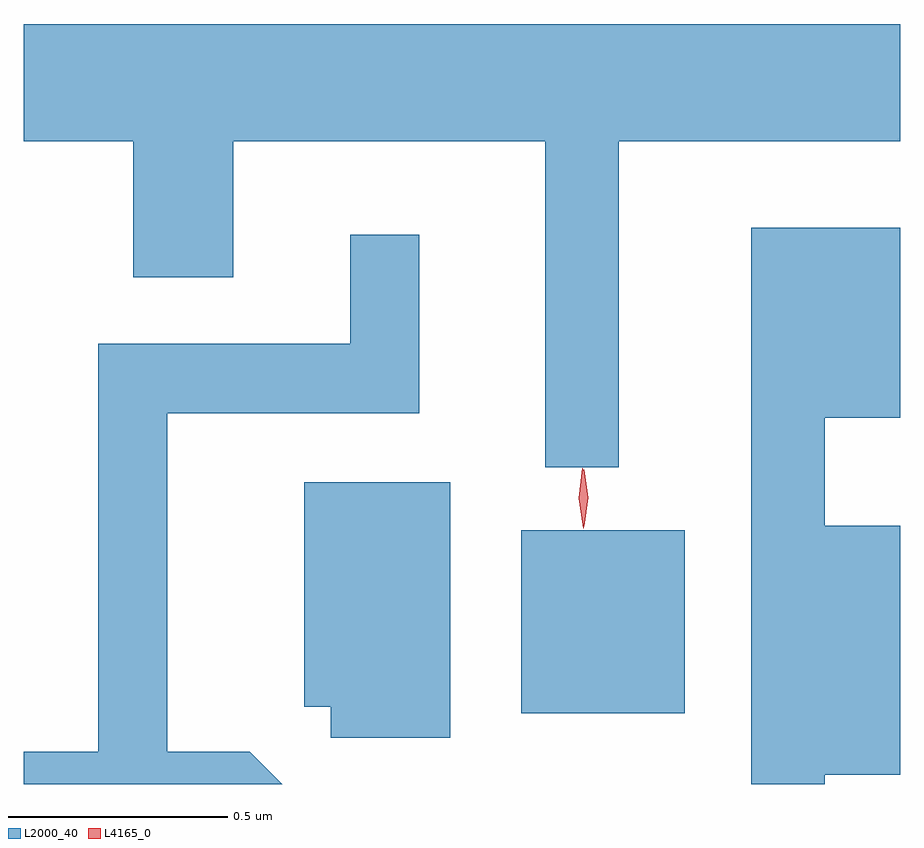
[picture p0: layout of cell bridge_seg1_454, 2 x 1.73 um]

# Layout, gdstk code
import gdstk
lib = gdstk.Library(unit=1e-6, precision=1e-09)
def R(c, l, rs):  # rectangles x0, y0, x1, y1
    for r in rs: c.add(gdstk.rectangle(r[:2], r[2:], *l))
def P(c, l, *ps):  # polygons
    for p in ps: c.add(gdstk.Polygon(p, *l))
L2000_40 = (2000, 40)
L4165_0 = (4165, 0)

bridge_seg1_454 = lib.new_cell('bridge_seg1_454')
R(bridge_seg1_454, L2000_40, [(401.406,904.931,401.779,905.349)])
P(bridge_seg1_454, L2000_40, [(401.629,906.236),(402.271,906.236),(402.271,906.504),(400.271,906.504),(400.271,906.236),(400.521,906.236),(400.521,905.926),(400.749,905.926),(400.749,906.236),(401.461,906.236),(401.461,905.493),(401.629,905.493)],
  [(402.099,904.791),(402.271,904.791),(402.271,905.359),(402.099,905.359),(402.099,905.606),(402.271,905.606),(402.271,906.039),(401.931,906.039),(401.931,904.77),(402.099,904.77)],
  [(400.787,904.844),(400.599,904.844),(400.599,905.616),(401.174,905.616),(401.174,906.023),(401.016,906.023),(401.016,905.774),(400.441,905.774),(400.441,904.844),(400.271,904.844),(400.271,904.77),(400.861,904.77)],
  [(401.244,905.459),(400.911,905.459),(400.911,904.946),(400.971,904.946),(400.971,904.876),(401.244,904.876)])
P(bridge_seg1_454, L4165_0, [(401.55,905.358),(401.55,905.358),(401.54,905.422),(401.548,905.487),(401.549,905.487),(401.55,905.487),(401.559,905.423),(401.55,905.358)],
  [(401.548,905.354),(401.537,905.422),(401.545,905.49),(401.545,905.49),(401.546,905.49),(401.557,905.422),(401.549,905.354),(401.549,905.354)])

lib.write_gds('bridge_seg1_454.gds')
